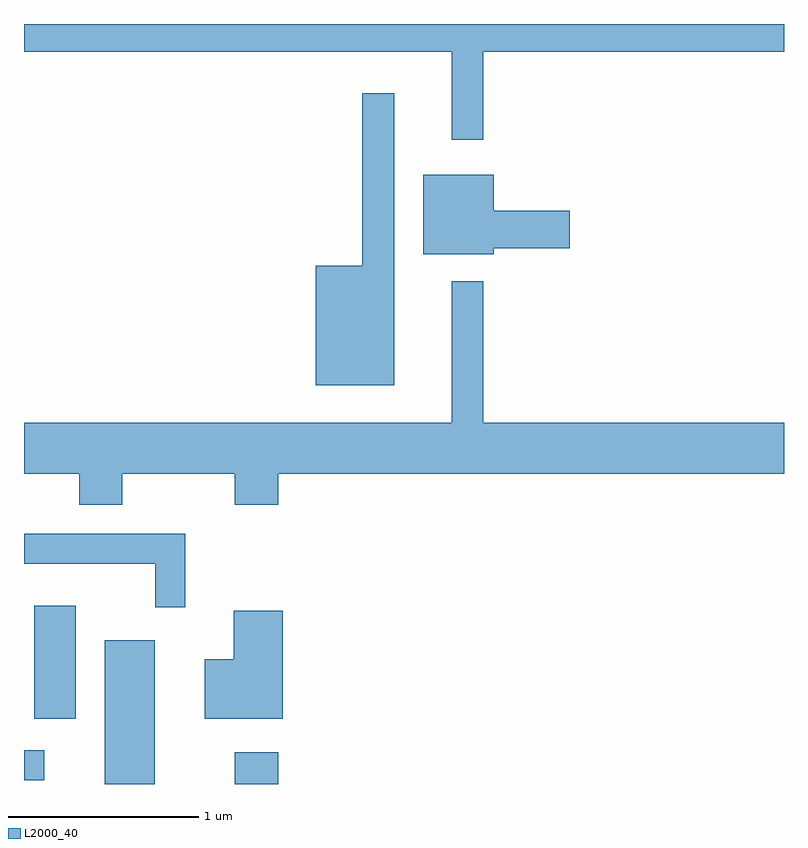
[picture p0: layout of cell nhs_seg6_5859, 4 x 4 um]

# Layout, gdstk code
import gdstk
lib = gdstk.Library(unit=1e-6, precision=1e-09)
def R(c, l, rs):  # rectangles x0, y0, x1, y1
    for r in rs: c.add(gdstk.rectangle(r[:2], r[2:], *l))
def P(c, l, *ps):  # polygons
    for p in ps: c.add(gdstk.Polygon(p, *l))
L2000_40 = (2000, 40)

nhs_seg6_5859 = lib.new_cell('nhs_seg6_5859')
R(nhs_seg6_5859, L2000_40, [(364.036,1566.162,364.299,1566.919), (364.721,1566.162,364.949,1566.329), (363.611,1566.181,363.718,1566.339), (363.666,1566.506,363.884,1567.099)])
P(nhs_seg6_5859, L2000_40, [(366.029,1570.016),(367.611,1570.016),(367.611,1570.162),(363.611,1570.162),(363.611,1570.016),(365.861,1570.016),(365.861,1569.553),(366.029,1569.553)],
  [(365.559,1569.798),(365.391,1569.798),(365.391,1568.889),(365.146,1568.889),(365.146,1568.261),(365.559,1568.261)],
  [(366.084,1568.981),(366.484,1568.981),(366.484,1569.179),(366.084,1569.179),(366.084,1569.369),(365.711,1569.369),(365.711,1568.951),(366.084,1568.951)],
  [(364.129,1567.796),(364.721,1567.796),(364.721,1567.631),(364.949,1567.631),(364.949,1567.796),(367.611,1567.796),(367.611,1568.064),(366.029,1568.064),(366.029,1568.808),(365.861,1568.808),(365.861,1568.064),(363.611,1568.064),(363.611,1567.796),(363.901,1567.796),(363.901,1567.631),(364.129,1567.631)],
  [(364.459,1567.479),(363.611,1567.479),(363.611,1567.321),(364.301,1567.321),(364.301,1567.093),(364.459,1567.093)],
  [(364.974,1567.074),(364.716,1567.074),(364.716,1566.819),(364.561,1566.819),(364.561,1566.506),(364.974,1566.506)])

lib.write_gds('nhs_seg6_5859.gds')
